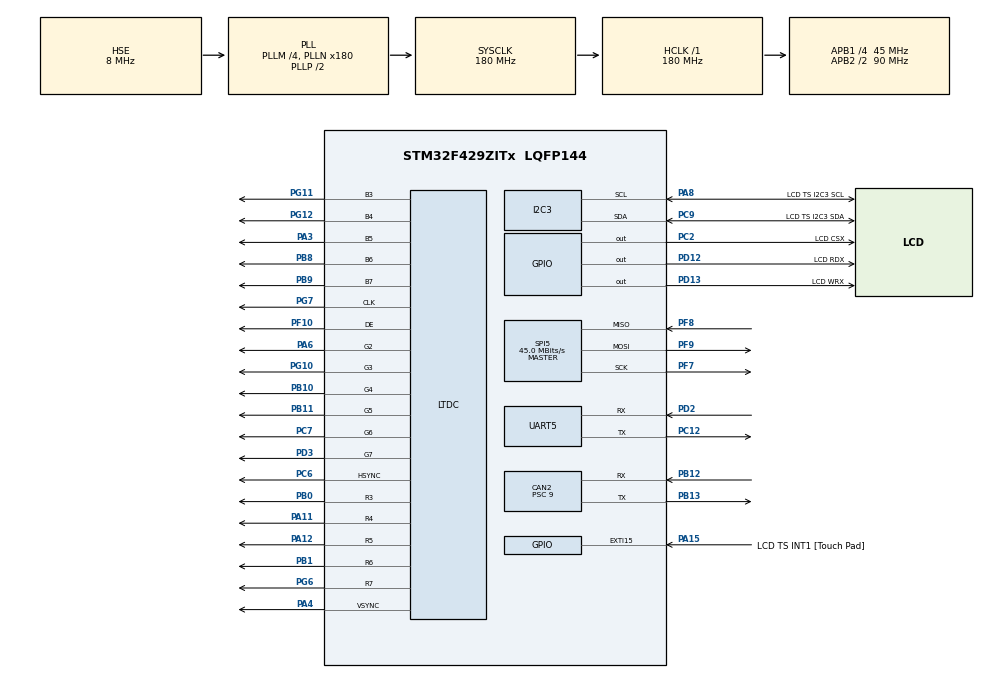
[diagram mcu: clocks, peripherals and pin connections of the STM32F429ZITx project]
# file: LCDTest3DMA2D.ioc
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Mcu.Family=STM32F4
PD12.GPIO_Label=LCD RDX
PA6.Mode=RGB565
RCC.CortexFreq_Value=180000000
PG6.Signal=LTDC_R7
NVIC.CAN2_RX0_IRQn=true\:0\:0\:false\:false\:true\:true\:true
PB10.Mode=RGB565
LTDC.HBP=20
CAN2.CalculateTimeBit=4000.00
PC10.Signal=LTDC_R2
PC12.Signal=UART5_TX
PA11.Mode=RGB565
PB11.Signal=LTDC_G5
PB13.Signal=CAN2_TX
PG6.Mode=RGB565
PG11.Signal=LTDC_B3
RCC.SYSCLKSource=RCC_SYSCLKSOURCE_PLLCLK
ProjectManager.StackSize=0x400
PD13.Signal=GPIO_Output
PA15.GPIO_Label=LCD TS INT1 [Touch Pad]
PA12.Signal=LTDC_R5
PA4.Mode=RGB565
PF7.Signal=SPI5_SCK
PA15.GPIO_ModeDefaultEXTI=GPIO_MODE_IT_FALLING
PH0/OSC_IN.Mode=HSE-External-Oscillator
RCC.HCLKFreq_Value=180000000
RCC.APB2TimFreq_Value=180000000
PC7.Signal=LTDC_G6
LTDC.WindowX1_L0=240
PH1/OSC_OUT.Signal=RCC_OSC_OUT
RCC.AHBFreq_Value=180000000
NVIC.EXTI15_10_IRQn=true\:15\:0\:true\:false\:true\:true\:true
RCC.HSE_VALUE=8000000
LTDC.PixelFormat_L0=LTDC_PIXEL_FORMAT_RGB565
PF9.Mode=Full_Duplex_Master
CAN2.Prescaler=9
PC9.Mode=I2C
LTDC.HFP=10
PA8.Signal=I2C3_SCL
PF8.Mode=Full_Duplex_Master
DMA2D.ColorMode=DMA2D_OUTPUT_RGB565
PD3.Mode=RGB565
LTDC.ActiveW=240
PH1/OSC_OUT.Mode=HSE-External-Oscillator
LTDC.HSync=10
PD13.GPIO_Label=LCD WRX
Mcu.Package=LQFP144
PB9.Signal=LTDC_B7
SPI5.BaudRatePrescaler=SPI_BAUDRATEPRESCALER_2
PB1.Signal=LTDC_R6
PA6.Signal=LTDC_G2
PB12.Mode=CAN_Activate
CAN2.BS1=CAN_BS1_16TQ
CAN2.BS2=CAN_BS2_3TQ
PD12.Signal=GPIO_Output
PA15.Signal=GPXTI15
PF8.Signal=SPI5_MISO
RCC.PLLSAIN=60
SPI5.CalculateBaudRate=45.0 MBits/s
RCC.PLLSAIR=5
RCC.APB2CLKDivider=RCC_HCLK_DIV2
LTDC.VSync=2
RCC.APB1TimFreq_Value=90000000
VP_DMA2D_VS_DMA2D.Mode=DMA2D_Activate
PF10.Mode=RGB565
PB13.Mode=CAN_Activate
PD6.Signal=LTDC_B2
PC2.GPIO_Label=LCD CSX
SPI5.VirtualType=VM_MASTER
PA3.Signal=LTDC_B5
PG12.Signal=LTDC_B4
RCC.PLLSourceVirtual=RCC_PLLSOURCE_HSE
CAN2.CalculateBaudRate=250000
LTDC.VFP=4
LTDC.WindowY1_L0=320
PG7.Signal=LTDC_CLK
PC9.GPIO_Label=LCD TS I2C3 SDA
PD3.Signal=LTDC_G7
PC2.Signal=GPIO_Output
PC6.Signal=LTDC_HSYNC
PG10.Mode=RGB565
UART5.VirtualMode=Asynchronous
RCC.APB1CLKDivider=RCC_HCLK_DIV4
SPI5.Mode=SPI_MODE_MASTER
PG10.Signal=LTDC_G3
LTDC.ImageWidth_L0=240
PA3.Mode=RGB565
PF7.Mode=Full_Duplex_Master
PA8.GPIO_Label=LCD TS I2C3 SCL
PB11.Mode=RGB565
ProjectManager.TargetToolchain=STM32CubeIDE
LTDC.ActiveH=320
PC6.Mode=RGB565
PB9.Mode=RGB565
PG7.Mode=RGB565
RCC.LSE_VALUE=32768
PB10.Signal=LTDC_G4
PD2.Mode=Asynchronous
PC12.Mode=Asynchronous
PB0.Mode=RGB565
board=custom
PG12.Mode=RGB565
RCC.VCOOutputFreq_Value=360000000
PH0/OSC_IN.Signal=RCC_OSC_IN
RCC.APB2Freq_Value=90000000
LTDC.Layers=0
PF10.Signal=LTDC_DE
CAN2.CalculateTimeQuantum=200.0
Mcu.Name=STM32F429ZITx
RCC.48MHZClocksFreq_Value=90000000
PA4.Signal=LTDC_VSYNC
RCC.SYSCLKFreq_VALUE=180000000
PA12.Mode=RGB565
SPI5.CRCCalculation=SPI_CRCCALCULATION_DISABLE
PG11.Mode=RGB565
LTDC.Alpha_L0=255
PA11.Signal=LTDC_R4
ProjectManager.HeapSize=0x200
PB1.Mode=RGB565
PF9.Signal=SPI5_MOSI
RCC.HSI_VALUE=16000000
NVIC.PriorityGroup=NVIC_PRIORITYGROUP_4
RCC.PLLM=4
PB8.Mode=RGB565
RCC.PLLN=180
PA15.GPIO_PuPd=GPIO_PULLUP
PB8.Signal=LTDC_B6
PA8.Mode=I2C
PC9.Signal=I2C3_SDA
PC7.Mode=RGB565
PD2.Signal=UART5_RX
RCC.APB1Freq_Value=45000000
LTDC.ImageHeight_L0=320
PB0.Signal=LTDC_R3
DMA2D.Mode=DMA2D_R2M
PB12.Signal=CAN2_RX
SPI5.Direction=SPI_DIRECTION_2LINES

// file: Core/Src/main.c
/* USER CODE BEGIN Header */
/**
 ******************************************************************************
 * @file           : main.c
 * @brief          : Main program body
 ******************************************************************************
 * @attention
 *
 * <h2><center>&copy; Copyright (c) 2021 STMicroelectronics.
 * All rights reserved.</center></h2>
 *
 * This software component is licensed by ST under BSD 3-Clause license,
 * the "License"; You may not use this file except in compliance with the
 * License. You may obtain a copy of the License at:
 *                        opensource.org/licenses/BSD-3-Clause
 *
 ******************************************************************************
 */
/* USER CODE END Header */
#include "main.h"

/* USER CODE BEGIN Includes */
#include <stdio.h>
#include <string.h>

#include "extlib/stm32f429i_discovery_ts.h"
#include "extlib/stm32f429i_discovery_lcd.h"

/* USER CODE END Includes */

CAN_HandleTypeDef hcan2;

DMA2D_HandleTypeDef hdma2d;

I2C_HandleTypeDef hi2c3;

LTDC_HandleTypeDef hltdc;

SPI_HandleTypeDef hspi5;

UART_HandleTypeDef huart5;

/* USER CODE BEGIN PV */
static uint8_t frame_buffer[153600/*240*320*2*/];
/* USER CODE END PV */

void SystemClock_Config(void);
static void MX_GPIO_Init(void);
static void MX_CAN2_Init(void);
static void MX_UART5_Init(void);
static void MX_I2C3_Init(void);
static void MX_SPI5_Init(void);
static void MX_LTDC_Init(void);
static void MX_DMA2D_Init(void);

/* USER CODE BEGIN 0 */
int __io_putchar(int ch)
{
    if(HAL_UART_Transmit(&huart5, (uint8_t *)&ch, 1, 10) != HAL_OK)
        return -1;
    return ch;
}

static uint16_t x, y;
void HAL_GPIO_EXTI_Callback(uint16_t GPIO_Pin)
{
    if(GPIO_Pin  == LCD_TS_INT1_Pin)
    {
        TS_StateTypeDef tp_state;
        BSP_TS_GetState(&tp_state);
        if(x != tp_state.X || y != tp_state.Y)
        {
            char buf[32] = {0, };

            if(tp_state.X > 240) tp_state.X = 240;
            if(tp_state.Y > 320) tp_state.Y = 320;

            sprintf(buf, "x = %d, y = %d", tp_state.X, tp_state.Y);
            // printf("%s\r\n", buf);
            BSP_LCD_Clear(LCD_COLOR_WHITE);

            BSP_LCD_SetFont(&Font20);
            BSP_LCD_DisplayStringAt(0, 120, (uint8_t *)buf, CENTER_MODE);
            x = tp_state.X;
            y = tp_state.Y;
        }
        BSP_TS_ITClear();
    }
}

/* USER CODE END 0 */

int main(void)
{

    /* MCU Configuration--------------------------------------------------------*/

    /* Reset of all peripherals, Initializes the Flash interface and the Systick. */
    HAL_Init();

    /* Configure the system clock */
    SystemClock_Config();

    /* Initialize all configured peripherals */
    MX_GPIO_Init();
    MX_CAN2_Init();
    MX_UART5_Init();
    MX_I2C3_Init();
    MX_SPI5_Init();
    MX_LTDC_Init();
    MX_DMA2D_Init();
    /* USER CODE BEGIN 2 */
    BSP_LCD_Init(hltdc, hdma2d);
    BSP_LCD_LayerDefaultInit(LCD_BACKGROUND_LAYER, (uint32_t)frame_buffer);
    BSP_LCD_SelectLayer(LCD_BACKGROUND_LAYER);
    BSP_LCD_DisplayOn();
    BSP_LCD_Clear(LCD_COLOR_WHITE);

    BSP_LCD_SetBackColor(RGB_LCD_COLOR_WHITE);
    BSP_LCD_SetTextColor(RGB_LCD_COLOR_BLACK);
    BSP_LCD_SetFont(&LCD_DEFAULT_FONT);
    BSP_LCD_DisplayStringAt(0, 150, (uint8_t *)"LCD Test1", CENTER_MODE);
    BSP_LCD_DisplayStringAt(0, 180, (uint8_t *)"LCD Test2", CENTER_MODE);

    BSP_TS_Init(240, 320);
    BSP_TS_ITConfig();

    /* USER CODE END 2 */

    /* Infinite loop */
    while (1)
    {

    }
}

void SystemClock_Config(void)
{
    RCC_OscInitTypeDef RCC_OscInitStruct = {0};
    RCC_ClkInitTypeDef RCC_ClkInitStruct = {0};
    RCC_PeriphCLKInitTypeDef PeriphClkInitStruct = {0};

    /** Configure the main internal regulator output voltage
    */
    __HAL_RCC_PWR_CLK_ENABLE();
    __HAL_PWR_VOLTAGESCALING_CONFIG(PWR_REGULATOR_VOLTAGE_SCALE1);
    /** Initializes the RCC Oscillators according to the specified parameters
     * in the RCC_OscInitTypeDef structure.
     */
    RCC_OscInitStruct.OscillatorType = RCC_OSCILLATORTYPE_HSE;
    RCC_OscInitStruct.HSEState = RCC_HSE_ON;
    RCC_OscInitStruct.PLL.PLLState = RCC_PLL_ON;
    RCC_OscInitStruct.PLL.PLLSource = RCC_PLLSOURCE_HSE;
    RCC_OscInitStruct.PLL.PLLM = 4;
    RCC_OscInitStruct.PLL.PLLN = 180;
    RCC_OscInitStruct.PLL.PLLP = RCC_PLLP_DIV2;
    RCC_OscInitStruct.PLL.PLLQ = 4;
    if (HAL_RCC_OscConfig(&RCC_OscInitStruct) != HAL_OK)
    {
        Error_Handler();
    }
    /** Activate the Over-Drive mode
    */
    if (HAL_PWREx_EnableOverDrive() != HAL_OK)
    {
        Error_Handler();
    }
    /** Initializes the CPU, AHB and APB buses clocks
    */
    RCC_ClkInitStruct.ClockType = RCC_CLOCKTYPE_HCLK|RCC_CLOCKTYPE_SYSCLK
        |RCC_CLOCKTYPE_PCLK1|RCC_CLOCKTYPE_PCLK2;
    RCC_ClkInitStruct.SYSCLKSource = RCC_SYSCLKSOURCE_PLLCLK;
    RCC_ClkInitStruct.AHBCLKDivider = RCC_SYSCLK_DIV1;
    RCC_ClkInitStruct.APB1CLKDivider = RCC_HCLK_DIV4;
    RCC_ClkInitStruct.APB2CLKDivider = RCC_HCLK_DIV2;

    if (HAL_RCC_ClockConfig(&RCC_ClkInitStruct, FLASH_LATENCY_5) != HAL_OK)
    {
        Error_Handler();
    }
    PeriphClkInitStruct.PeriphClockSelection = RCC_PERIPHCLK_LTDC;
    PeriphClkInitStruct.PLLSAI.PLLSAIN = 60;
    PeriphClkInitStruct.PLLSAI.PLLSAIR = 5;
    PeriphClkInitStruct.PLLSAIDivR = RCC_PLLSAIDIVR_2;
    if (HAL_RCCEx_PeriphCLKConfig(&PeriphClkInitStruct) != HAL_OK)
    {
        Error_Handler();
    }
}

static void MX_CAN2_Init(void)
{

    hcan2.Instance = CAN2;
    hcan2.Init.Prescaler = 9;
    hcan2.Init.Mode = CAN_MODE_NORMAL;
    hcan2.Init.SyncJumpWidth = CAN_SJW_1TQ;
    hcan2.Init.TimeSeg1 = CAN_BS1_16TQ;
    hcan2.Init.TimeSeg2 = CAN_BS2_3TQ;
    hcan2.Init.TimeTriggeredMode = DISABLE;
    hcan2.Init.AutoBusOff = DISABLE;
    hcan2.Init.AutoWakeUp = DISABLE;
    hcan2.Init.AutoRetransmission = DISABLE;
    hcan2.Init.ReceiveFifoLocked = DISABLE;
    hcan2.Init.TransmitFifoPriority = DISABLE;
    if (HAL_CAN_Init(&hcan2) != HAL_OK)
    {
        Error_Handler();
    }

}

static void MX_DMA2D_Init(void)
{

    hdma2d.Instance = DMA2D;
    hdma2d.Init.Mode = DMA2D_R2M;
    hdma2d.Init.ColorMode = DMA2D_OUTPUT_RGB565;
    hdma2d.Init.OutputOffset = 0;
    if (HAL_DMA2D_Init(&hdma2d) != HAL_OK)
    {
        Error_Handler();
    }

}

static void MX_I2C3_Init(void)
{

    hi2c3.Instance = I2C3;
    hi2c3.Init.ClockSpeed = 100000;
    hi2c3.Init.DutyCycle = I2C_DUTYCYCLE_2;
    hi2c3.Init.OwnAddress1 = 0;
    hi2c3.Init.AddressingMode = I2C_ADDRESSINGMODE_7BIT;
    hi2c3.Init.DualAddressMode = I2C_DUALADDRESS_DISABLE;
    hi2c3.Init.OwnAddress2 = 0;
    hi2c3.Init.GeneralCallMode = I2C_GENERALCALL_DISABLE;
    hi2c3.Init.NoStretchMode = I2C_NOSTRETCH_DISABLE;
    if (HAL_I2C_Init(&hi2c3) != HAL_OK)
    {
        Error_Handler();
    }
    /** Configure Analogue filter
    */
    if (HAL_I2CEx_ConfigAnalogFilter(&hi2c3, I2C_ANALOGFILTER_ENABLE) != HAL_OK)
    {
        Error_Handler();
    }
    /** Configure Digital filter
    */
    if (HAL_I2CEx_ConfigDigitalFilter(&hi2c3, 0) != HAL_OK)
    {
        Error_Handler();
    }

}

static void MX_LTDC_Init(void)
{

    LTDC_LayerCfgTypeDef pLayerCfg = {0};

    hltdc.Instance = LTDC;
    hltdc.Init.HSPolarity = LTDC_HSPOLARITY_AL;
    hltdc.Init.VSPolarity = LTDC_VSPOLARITY_AL;
    hltdc.Init.DEPolarity = LTDC_DEPOLARITY_AL;
    hltdc.Init.PCPolarity = LTDC_PCPOLARITY_IPC;
    hltdc.Init.HorizontalSync = 9;
    hltdc.Init.VerticalSync = 1;
    hltdc.Init.AccumulatedHBP = 29;
    hltdc.Init.AccumulatedVBP = 3;
    hltdc.Init.AccumulatedActiveW = 269;
    hltdc.Init.AccumulatedActiveH = 323;
    hltdc.Init.TotalWidth = 279;
    hltdc.Init.TotalHeigh = 327;
    hltdc.Init.Backcolor.Blue = 0;
    hltdc.Init.Backcolor.Green = 0;
    hltdc.Init.Backcolor.Red = 0;
    if (HAL_LTDC_Init(&hltdc) != HAL_OK)
    {
        Error_Handler();
    }
    pLayerCfg.WindowX0 = 0;
    pLayerCfg.WindowX1 = 240;
    pLayerCfg.WindowY0 = 0;
    pLayerCfg.WindowY1 = 320;
    pLayerCfg.PixelFormat = LTDC_PIXEL_FORMAT_RGB565;
    pLayerCfg.Alpha = 255;
    pLayerCfg.Alpha0 = 0;
    pLayerCfg.BlendingFactor1 = LTDC_BLENDING_FACTOR1_CA;
    pLayerCfg.BlendingFactor2 = LTDC_BLENDING_FACTOR2_CA;
    pLayerCfg.FBStartAdress = 0;
    pLayerCfg.ImageWidth = 240;
    pLayerCfg.ImageHeight = 320;
    pLayerCfg.Backcolor.Blue = 0;
    pLayerCfg.Backcolor.Green = 0;
    pLayerCfg.Backcolor.Red = 0;
    if (HAL_LTDC_ConfigLayer(&hltdc, &pLayerCfg, 0) != HAL_OK)
    {
        Error_Handler();
    }

}

static void MX_SPI5_Init(void)
{

    /* SPI5 parameter configuration*/
    hspi5.Instance = SPI5;
    hspi5.Init.Mode = SPI_MODE_MASTER;
    hspi5.Init.Direction = SPI_DIRECTION_2LINES;
    hspi5.Init.DataSize = SPI_DATASIZE_8BIT;
    hspi5.Init.CLKPolarity = SPI_POLARITY_LOW;
    hspi5.Init.CLKPhase = SPI_PHASE_1EDGE;
    hspi5.Init.NSS = SPI_NSS_SOFT;
    hspi5.Init.BaudRatePrescaler = SPI_BAUDRATEPRESCALER_2;
    hspi5.Init.FirstBit = SPI_FIRSTBIT_MSB;
    hspi5.Init.TIMode = SPI_TIMODE_DISABLE;
    hspi5.Init.CRCCalculation = SPI_CRCCALCULATION_DISABLE;
    hspi5.Init.CRCPolynomial = 10;
    if (HAL_SPI_Init(&hspi5) != HAL_OK)
    {
        Error_Handler();
    }

}

static void MX_UART5_Init(void)
{

    huart5.Instance = UART5;
    huart5.Init.BaudRate = 115200;
    huart5.Init.WordLength = UART_WORDLENGTH_8B;
    huart5.Init.StopBits = UART_STOPBITS_1;
    huart5.Init.Parity = UART_PARITY_NONE;
    huart5.Init.Mode = UART_MODE_TX_RX;
    huart5.Init.HwFlowCtl = UART_HWCONTROL_NONE;
    huart5.Init.OverSampling = UART_OVERSAMPLING_16;
    if (HAL_UART_Init(&huart5) != HAL_OK)
    {
        Error_Handler();
    }

}

static void MX_GPIO_Init(void)
{
    GPIO_InitTypeDef GPIO_InitStruct = {0};

    /* GPIO Ports Clock Enable */
    __HAL_RCC_GPIOF_CLK_ENABLE();
    __HAL_RCC_GPIOH_CLK_ENABLE();
    __HAL_RCC_GPIOC_CLK_ENABLE();
    __HAL_RCC_GPIOA_CLK_ENABLE();
    __HAL_RCC_GPIOB_CLK_ENABLE();
    __HAL_RCC_GPIOD_CLK_ENABLE();
    __HAL_RCC_GPIOG_CLK_ENABLE();

    /*Configure GPIO pin Output Level */
    HAL_GPIO_WritePin(LCD_CSX_GPIO_Port, LCD_CSX_Pin, GPIO_PIN_RESET);

    /*Configure GPIO pin Output Level */
    HAL_GPIO_WritePin(GPIOD, LCD_RDX_Pin|LCD_WRX_Pin, GPIO_PIN_RESET);

    /*Configure GPIO pin : LCD_CSX_Pin */
    GPIO_InitStruct.Pin = LCD_CSX_Pin;
    GPIO_InitStruct.Mode = GPIO_MODE_OUTPUT_PP;
    GPIO_InitStruct.Pull = GPIO_NOPULL;
    GPIO_InitStruct.Speed = GPIO_SPEED_FREQ_LOW;
    HAL_GPIO_Init(LCD_CSX_GPIO_Port, &GPIO_InitStruct);

    /*Configure GPIO pins : LCD_RDX_Pin LCD_WRX_Pin */
    GPIO_InitStruct.Pin = LCD_RDX_Pin|LCD_WRX_Pin;
    GPIO_InitStruct.Mode = GPIO_MODE_OUTPUT_PP;
    GPIO_InitStruct.Pull = GPIO_NOPULL;
    GPIO_InitStruct.Speed = GPIO_SPEED_FREQ_LOW;
    HAL_GPIO_Init(GPIOD, &GPIO_InitStruct);

    /*Configure GPIO pin : LCD_TS_INT1_Pin */
    GPIO_InitStruct.Pin = LCD_TS_INT1_Pin;
    GPIO_InitStruct.Mode = GPIO_MODE_IT_FALLING;
    GPIO_InitStruct.Pull = GPIO_PULLUP;
    HAL_GPIO_Init(LCD_TS_INT1_GPIO_Port, &GPIO_InitStruct);

    /* EXTI interrupt init*/
    HAL_NVIC_SetPriority(EXTI15_10_IRQn, 15, 0);
    HAL_NVIC_EnableIRQ(EXTI15_10_IRQn);

}

void Error_Handler(void)
{
    __disable_irq();
    while (1)
    {
    }
}

/************************ (C) COPYRIGHT STMicroelectronics *****END OF FILE****/
